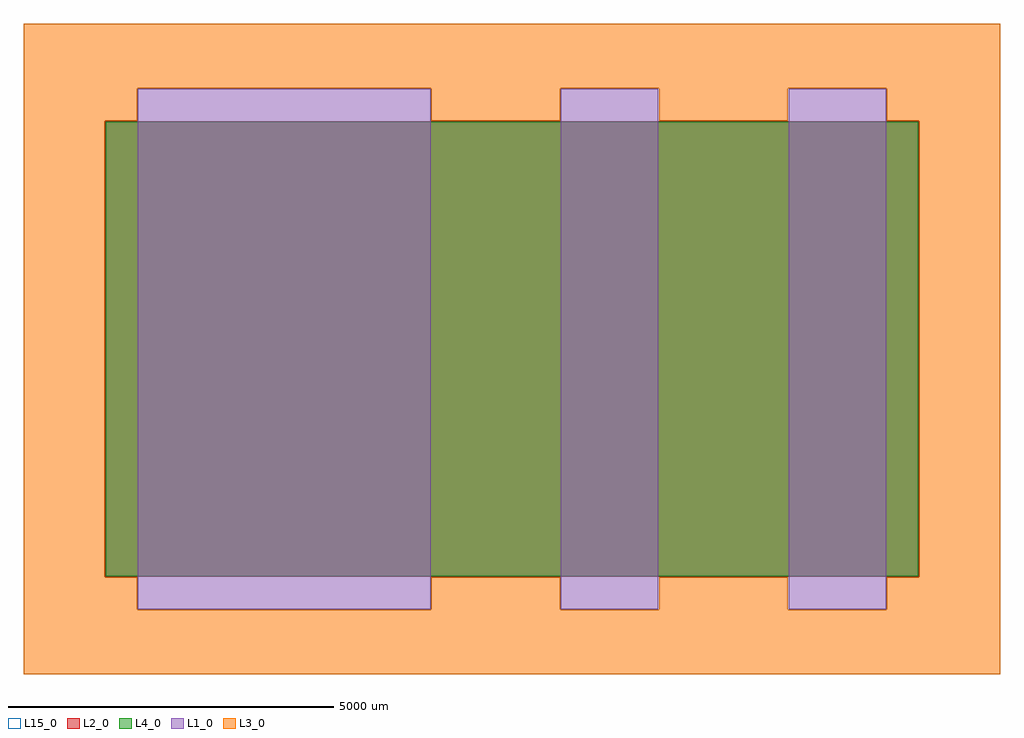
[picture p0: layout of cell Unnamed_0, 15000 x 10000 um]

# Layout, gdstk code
import gdstk
lib = gdstk.Library(unit=1e-6, precision=1e-09)
def R(c, l, rs):  # rectangles x0, y0, x1, y1
    for r in rs: c.add(gdstk.rectangle(r[:2], r[2:], *l))
def P(c, l, *ps):  # polygons
    for p in ps: c.add(gdstk.Polygon(p, *l))
L1_0 = (1, 0)
L2_0 = (2, 0)
L3_0 = (3, 0)
L4_0 = (4, 0)
L15_0 = (15, 0)

rectangle_gdsfactorypco_ = lib.new_cell('rectangle_gdsfactorypco_41ccc8bb')
R(rectangle_gdsfactorypco_, L1_0, [(0,0,4500,8000)])

c_rectangle_gdsfactorypco_ = lib.new_cell('rectangle_gdsfactorypco_c0d9835b')
R(c_rectangle_gdsfactorypco_, L1_0, [(0,0,1500,8000)])

c_rectangle_gdsfactorypco__ = lib.new_cell('rectangle_gdsfactorypco_86c51bfc')
R(c_rectangle_gdsfactorypco__, L2_0, [(0,0,12500,7000)])

c_rectangle_gdsfactorypco___ = lib.new_cell('rectangle_gdsfactorypco_689f7d17')
R(c_rectangle_gdsfactorypco___, L15_0, [(0,0,15000,10000)])

unnamed_0 = lib.new_cell('Unnamed_0')
P(unnamed_0, L3_0, [(-1750,-1000),(-1750,8010),(9990,8010),(9990,7510),(8010,7510),(8010,8010),(6490,8010),(6490,7510),(4510,7510),(4510,8010),(-10,8010),(-10,7510),(-510,7510),(-510,490),(-10,490),(-10,-10),(4510,-10),(4510,490),(6490,490),(6490,-10),(8010,-10),(8010,490),(9990,490),(9990,-10),(11510,-10),(11510,490),(12010,490),(12010,7510),(11510,7510),(11510,8010),(-1750,8010),(-1750,9000),(13250,9000),(13250,-1000)])
R(unnamed_0, L4_0, [(-495,505,11995,7495)])
unnamed_0.add(gdstk.Reference(rectangle_gdsfactorypco_, (0,0)))
unnamed_0.add(gdstk.Reference(c_rectangle_gdsfactorypco_, (6500,0)))
unnamed_0.add(gdstk.Reference(c_rectangle_gdsfactorypco_, (10000,0)))
unnamed_0.add(gdstk.Reference(c_rectangle_gdsfactorypco__, (-500,500)))
unnamed_0.add(gdstk.Reference(c_rectangle_gdsfactorypco___, (-1750,-1000)))

lib.write_gds('Unnamed_0.gds')
